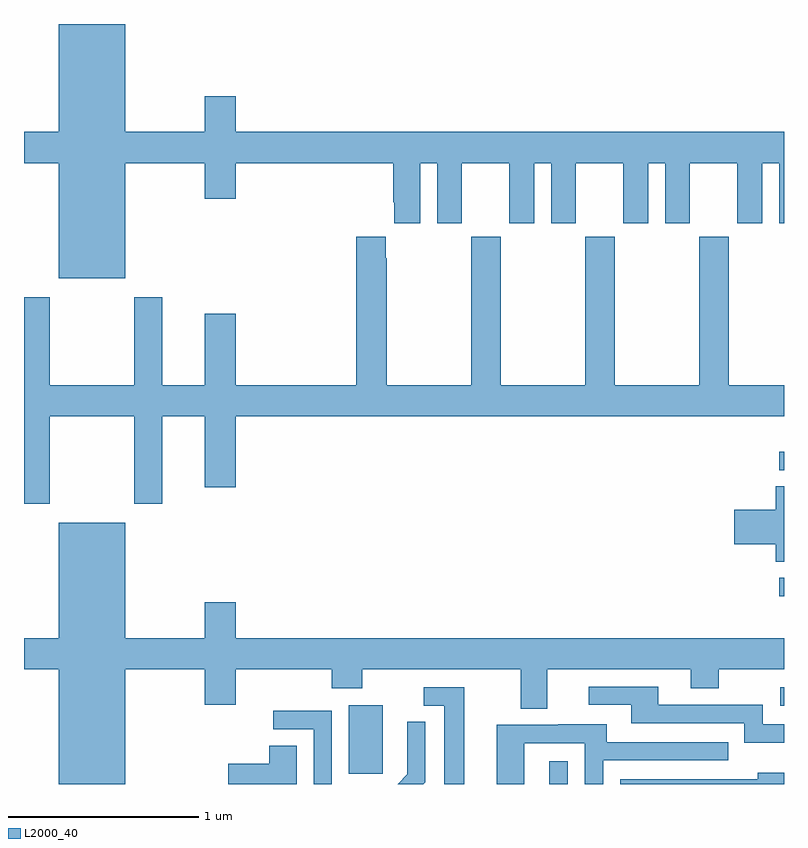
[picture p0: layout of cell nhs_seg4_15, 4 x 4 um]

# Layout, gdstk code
import gdstk
lib = gdstk.Library(unit=1e-6, precision=1e-09)
def R(c, l, rs):  # rectangles x0, y0, x1, y1
    for r in rs: c.add(gdstk.rectangle(r[:2], r[2:], *l))
def P(c, l, *ps):  # polygons
    for p in ps: c.add(gdstk.Polygon(p, *l))
L2000_40 = (2000, 40)

nhs_seg4_15 = lib.new_cell('nhs_seg4_15')
R(nhs_seg4_15, L2000_40, [(113.765,778.9,113.862,779.02), (112.709,778.953,112.888,779.314), (114.981,779.313,115,779.409), (114.975,779.887,115,779.985), (114.975,780.552,115,780.648)])
P(nhs_seg4_15, L2000_40, [(111.532,782.168),(111.95,782.168),(111.95,781.98),(112.114,781.98),(112.114,782.168),(112.943,782.168),(112.943,781.963),(112.949,781.963),(112.949,781.851),(113.086,781.851),(113.086,782.168),(113.174,782.168),(113.174,781.851),(113.305,781.851),(113.305,782.168),(113.555,782.168),(113.555,781.851),(113.686,781.851),(113.686,782.168),(113.774,782.168),(113.774,781.851),(113.905,781.851),(113.905,782.168),(114.155,782.168),(114.155,781.851),(114.286,781.851),(114.286,782.168),(114.374,782.168),(114.374,781.851),(114.505,781.851),(114.505,782.168),(114.755,782.168),(114.755,781.851),(114.886,781.851),(114.886,782.168),(114.974,782.168),(114.974,781.851),(115,781.851),(115,782.332),(112.114,782.332),(112.114,782.521),(111.95,782.521),(111.95,782.332),(111.532,782.332),(111.532,782.9),(111.182,782.9),(111.182,782.332),(111,782.332),(111,782.168),(111.182,782.168),(111.182,781.562),(111.532,781.562)],
  [(111.135,780.836),(111.58,780.836),(111.58,780.375),(111.727,780.375),(111.727,780.836),(111.95,780.836),(111.95,780.462),(112.114,780.462),(112.114,780.836),(115,780.836),(115,781),(114.708,781),(114.708,781.78),(114.553,781.78),(114.553,781),(114.108,781),(114.108,781.78),(113.953,781.78),(113.953,781),(113.508,781),(113.508,781.78),(113.353,781.78),(113.353,781),(112.908,781),(112.908,781.667),(112.903,781.667),(112.903,781.78),(112.748,781.78),(112.748,781),(112.114,781),(112.114,781.375),(111.95,781.375),(111.95,781),(111.727,781),(111.727,781.462),(111.58,781.462),(111.58,781),(111.135,781),(111.135,781.462),(111,781.462),(111,780.375),(111.135,780.375)],
  [(115,780.467),(114.956,780.467),(114.956,780.344),(114.738,780.344),(114.738,780.161),(114.956,780.161),(114.956,780.07),(115,780.07)],
  [(111.532,779.504),(111.95,779.504),(111.95,779.316),(112.114,779.316),(112.114,779.504),(112.619,779.504),(112.619,779.405),(112.779,779.405),(112.779,779.504),(113.615,779.504),(113.615,779.296),(113.755,779.296),(113.755,779.504),(114.509,779.504),(114.509,779.405),(114.657,779.405),(114.657,779.504),(115,779.504),(115,779.668),(112.114,779.668),(112.114,779.857),(111.95,779.857),(111.95,779.668),(111.532,779.668),(111.532,780.274),(111.182,780.274),(111.182,779.668),(111,779.668),(111,779.504),(111.182,779.504),(111.182,778.9),(111.532,778.9)],
  [(115,779.214),(114.888,779.214),(114.888,779.316),(114.337,779.316),(114.337,779.412),(113.973,779.412),(113.973,779.316),(114.197,779.316),(114.197,779.22),(114.792,779.22),(114.792,779.117),(115,779.117)],
  [(113.317,779.409),(113.103,779.409),(113.103,779.313),(113.213,779.313),(113.213,778.9),(113.317,778.9)],
  [(112.62,779.286),(112.311,779.286),(112.311,779.187),(112.524,779.187),(112.524,778.9),(112.62,778.9)],
  [(113.112,778.91),(113.112,779.228),(113.016,779.228),(113.016,779.074),(113.018,779.074),(113.018,778.952),(112.966,778.9),(113.102,778.9)],
  [(113.634,779.115),(113.952,779.115),(113.952,778.9),(114.048,778.9),(114.048,779.025),(114.707,779.025),(114.707,779.121),(114.067,779.121),(114.067,779.215),(113.813,779.215),(113.813,779.211),(113.489,779.211),(113.489,778.9),(113.634,778.9)],
  [(112.435,779.102),(112.292,779.102),(112.292,779.007),(112.074,779.007),(112.074,778.9),(112.435,778.9)],
  [(115,778.96),(114.863,778.96),(114.863,778.926),(114.138,778.926),(114.138,778.9),(115,778.9)])

lib.write_gds('nhs_seg4_15.gds')
